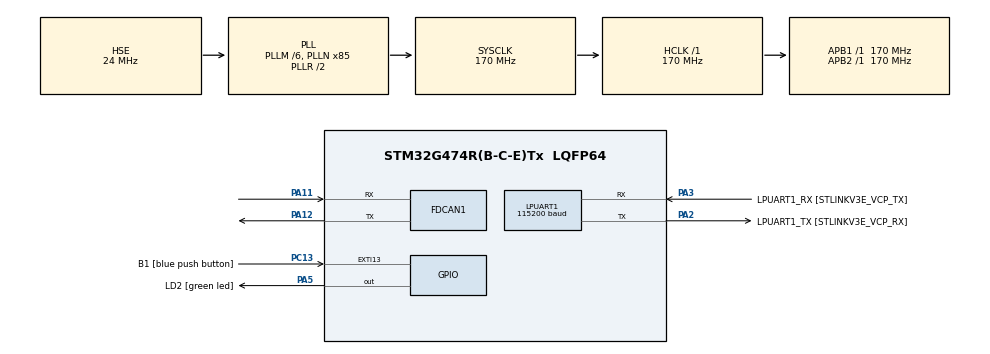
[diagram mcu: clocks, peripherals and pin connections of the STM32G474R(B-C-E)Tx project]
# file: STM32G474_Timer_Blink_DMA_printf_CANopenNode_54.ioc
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Dma.LPUART1_RX.0.Direction=DMA_PERIPH_TO_MEMORY
Dma.LPUART1_RX.0.EventEnable=DISABLE
Dma.LPUART1_RX.0.Instance=DMA1_Channel1
Dma.LPUART1_RX.0.MemDataAlignment=DMA_MDATAALIGN_BYTE
Dma.LPUART1_RX.0.MemInc=DMA_MINC_ENABLE
Dma.LPUART1_RX.0.Mode=DMA_NORMAL
Dma.LPUART1_RX.0.PeriphDataAlignment=DMA_PDATAALIGN_BYTE
Dma.LPUART1_RX.0.PeriphInc=DMA_PINC_DISABLE
Dma.LPUART1_RX.0.Polarity=HAL_DMAMUX_REQ_GEN_RISING
Dma.LPUART1_RX.0.Priority=DMA_PRIORITY_LOW
Dma.LPUART1_RX.0.RequestNumber=1
Dma.LPUART1_RX.0.SignalID=NONE
Dma.LPUART1_RX.0.SyncEnable=DISABLE
Dma.LPUART1_RX.0.SyncPolarity=HAL_DMAMUX_SYNC_NO_EVENT
Dma.LPUART1_RX.0.SyncRequestNumber=1
Dma.LPUART1_RX.0.SyncSignalID=NONE
Dma.LPUART1_TX.1.Direction=DMA_MEMORY_TO_PERIPH
Dma.LPUART1_TX.1.EventEnable=DISABLE
Dma.LPUART1_TX.1.Instance=DMA1_Channel2
Dma.LPUART1_TX.1.MemDataAlignment=DMA_MDATAALIGN_BYTE
Dma.LPUART1_TX.1.MemInc=DMA_MINC_ENABLE
Dma.LPUART1_TX.1.Mode=DMA_NORMAL
Dma.LPUART1_TX.1.PeriphDataAlignment=DMA_PDATAALIGN_BYTE
Dma.LPUART1_TX.1.PeriphInc=DMA_PINC_DISABLE
Dma.LPUART1_TX.1.Polarity=HAL_DMAMUX_REQ_GEN_RISING
Dma.LPUART1_TX.1.Priority=DMA_PRIORITY_LOW
Dma.LPUART1_TX.1.RequestNumber=1
Dma.LPUART1_TX.1.SignalID=NONE
Dma.LPUART1_TX.1.SyncEnable=DISABLE
Dma.LPUART1_TX.1.SyncPolarity=HAL_DMAMUX_SYNC_NO_EVENT
Dma.LPUART1_TX.1.SyncRequestNumber=1
Dma.LPUART1_TX.1.SyncSignalID=NONE
Dma.Request0=LPUART1_RX
Dma.Request1=LPUART1_TX
FDCAN1.CalculateBaudRateNominal=124999
FDCAN1.CalculateTimeBitNominal=8000
FDCAN1.CalculateTimeQuantumNominal=500.00000000000006
FDCAN1.Mode=FDCAN_MODE_NORMAL
FDCAN1.NominalPrescaler=85
FDCAN1.NominalTimeSeg1=13
LPUART1.BaudRate=115200
LPUART1.WordLength=UART_WORDLENGTH_8B
Mcu.Family=STM32G4
Mcu.Name=STM32G474R(B-C-E)Tx
Mcu.Package=LQFP64
NVIC.DMA1_Channel1_IRQn=true\:0\:0\:false\:false\:true\:false\:true\:true
NVIC.DMA1_Channel2_IRQn=true\:0\:0\:false\:false\:true\:false\:true\:true
NVIC.EXTI15_10_IRQn=true\:0\:0\:false\:false\:true\:true\:true\:true
NVIC.FDCAN1_IT0_IRQn=true\:0\:0\:false\:false\:true\:true\:true\:true
NVIC.FDCAN1_IT1_IRQn=true\:0\:0\:false\:false\:true\:true\:true\:true
NVIC.LPUART1_IRQn=true\:0\:0\:false\:false\:true\:true\:true\:true
NVIC.PriorityGroup=NVIC_PRIORITYGROUP_4
NVIC.TIM3_IRQn=true\:0\:0\:false\:false\:true\:true\:true\:true
PA11.Mode=FDCAN_Activate
PA11.Signal=FDCAN1_RX
PA12.Mode=FDCAN_Activate
PA12.Signal=FDCAN1_TX
PA13.GPIO_Label=T_SWDIO
PA13.Mode=Serial_Wire
PA13.Signal=SYS_JTMS-SWDIO
PA14.GPIO_Label=T_SWCLK
PA14.Mode=Serial_Wire
PA14.Signal=SYS_JTCK-SWCLK
PA2.GPIO_Label=LPUART1_TX [STLINKV3E_VCP_RX]
PA2.Mode=Asynchronous
PA2.Signal=LPUART1_TX
PA3.GPIO_Label=LPUART1_RX [STLINKV3E_VCP_TX]
PA3.Mode=Asynchronous
PA3.Signal=LPUART1_RX
PA5.GPIO_Label=LD2 [green led]
PA5.Signal=GPIO_Output
PB3.GPIO_Label=T_SWO
PB3.Signal=SYS_JTDO-SWO
PC13.GPIO_Label=B1 [blue push button]
PC13.Signal=GPXTI13
PC14-OSC32_IN.Mode=LSE-External-Oscillator
PC14-OSC32_IN.Signal=RCC_OSC32_IN
PC15-OSC32_OUT.Mode=LSE-External-Oscillator
PC15-OSC32_OUT.Signal=RCC_OSC32_OUT
PF0-OSC_IN.Mode=HSE-External-Oscillator
PF0-OSC_IN.Signal=RCC_OSC_IN
PF1-OSC_OUT.Mode=HSE-External-Oscillator
PF1-OSC_OUT.Signal=RCC_OSC_OUT
ProjectManager.HeapSize=0x200
ProjectManager.StackSize=0x400
ProjectManager.TargetToolchain=STM32CubeIDE
RCC.ADC12Freq_Value=170000000
RCC.ADC345Freq_Value=170000000
RCC.AHBFreq_Value=170000000
RCC.APB1Freq_Value=170000000
RCC.APB1TimFreq_Value=170000000
RCC.APB2Freq_Value=170000000
RCC.APB2TimFreq_Value=170000000
RCC.CortexFreq_Value=170000000
RCC.EXTERNAL_CLOCK_VALUE=12288000
RCC.HCLKFreq_Value=170000000
RCC.HSE_VALUE=24000000
RCC.HSI48_VALUE=48000000
RCC.HSI_VALUE=16000000
RCC.PLLM=RCC_PLLM_DIV6
RCC.PLLN=85
RCC.PLLSourceVirtual=RCC_PLLSOURCE_HSE
RCC.RTCClockSelection=RCC_RTCCLKSOURCE_LSE
RCC.SYSCLKFreq_VALUE=170000000
RCC.SYSCLKSource=RCC_SYSCLKSOURCE_PLLCLK
RCC.USBFreq_Value=170000000
RCC.VCOOutputFreq_Value=340000000
TIM3.PeriodNoDither=1000-1
TIM3.Prescaler=170-1
VP_SYS_VS_DBSignals.Mode=DisableDeadBatterySignals
VP_TIM3_VS_ClockSourceINT.Mode=Internal
board=NUCLEO-G474RE

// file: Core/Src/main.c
/* USER CODE BEGIN Header */
/**
  ******************************************************************************
  * @file           : main.c
  * @brief          : Main program body
  ******************************************************************************
  * @attention
  *
  * Copyright (c) 2023 STMicroelectronics.
  * All rights reserved.
  *
  * This software is licensed under terms that can be found in the LICENSE file
  * in the root directory of this software component.
  * If no LICENSE file comes with this software, it is provided AS-IS.
  *
  ******************************************************************************
  */
/* USER CODE END Header */
#include "main.h"

/* USER CODE BEGIN Includes */
#include <stdio.h>
#include "dma_printf.h"
#include "dma_scanf.h"
#include "log.h"

#include "CO_app_STM32.h"
#include "OD.h"
/* USER CODE END Includes */

FDCAN_HandleTypeDef hfdcan1;

UART_HandleTypeDef hlpuart1;
DMA_HandleTypeDef hdma_lpuart1_rx;
DMA_HandleTypeDef hdma_lpuart1_tx;

TIM_HandleTypeDef htim3;

/* USER CODE BEGIN PV */
uint8_t flag;
/* USER CODE END PV */

void SystemClock_Config(void);
static void MX_GPIO_Init(void);
static void MX_DMA_Init(void);
static void MX_LPUART1_UART_Init(void);
static void MX_TIM3_Init(void);
static void MX_FDCAN1_Init(void);

/* USER CODE BEGIN 0 */
void HAL_TIM_PeriodElapsedCallback(TIM_HandleTypeDef *htim)
{
	static uint32_t c;
////	if(htim->Instance == htim7.Instance) {
	if (htim == canopenNodeSTM32->timerHandle) {
//		HAL_IWDG_Refresh(&hiwdg);
		canopen_app_interrupt();

		c++;
		if (c >= 500) {
			flag = 1;
			c = 0;
			HAL_GPIO_TogglePin(LD2_GPIO_Port, LD2_Pin);
			OD_PERSIST_COMM.x6000_counter++;

		}
	}
}

int __io_putchar(int ch)
{
  dma_printf_putc(ch&0xFF);
  return ch;
}

int __io_getchar(void)
{
  return dma_scanf_getc_blocking();
}

void HAL_UART_RxCpltCallback(UART_HandleTypeDef *huart){

}

void HAL_UART_TxCpltCallback(UART_HandleTypeDef *huart){
  dma_printf_send_it(huart);
}

/* USER CODE END 0 */

int main(void)
{
  /* USER CODE BEGIN 1 */
  uint32_t c=0;
  /* USER CODE END 1 */

  /* MCU Configuration--------------------------------------------------------*/

  /* Reset of all peripherals, Initializes the Flash interface and the Systick. */
  HAL_Init();

  /* Configure the system clock */
  SystemClock_Config();

  /* Initialize all configured peripherals */
  MX_GPIO_Init();
  MX_DMA_Init();
  MX_LPUART1_UART_Init();
  MX_TIM3_Init();
  MX_FDCAN1_Init();
  /* USER CODE BEGIN 2 */

  HAL_TIM_Base_Start_IT(&htim3);

  setbuf(stdin, NULL);
  setbuf(stdout, NULL);
  setbuf(stderr, NULL);
  dma_printf_init(&hlpuart1);
  dma_scanf_init(&hlpuart1);

  printf("%s compiled at %s %s\n\r", __FILE__, __DATE__, __TIME__);

  CANopenNodeSTM32 canOpenNodeSTM32;
  canOpenNodeSTM32.CANHandle = &hfdcan1;
  canOpenNodeSTM32.HWInitFunction = MX_FDCAN1_Init;
  canOpenNodeSTM32.timerHandle = &htim3;
  canOpenNodeSTM32.desiredNodeID = 0x30;
  canOpenNodeSTM32.baudrate = 125;
  canopen_app_init(&canOpenNodeSTM32);
  /* USER CODE END 2 */

  /* Infinite loop */
  /* USER CODE BEGIN WHILE */
  while (1)
  {
//	  HAL_GPIO_TogglePin(LD2_GPIO_Port, LD2_Pin);
	  if (flag == 1) {
		  flag = 0;
		  log_info("ret = %8d\r\n", c++);
	  }
      canopen_app_process();
////	  HAL_Delay(1);
    /* USER CODE END WHILE */

  }
}

void SystemClock_Config(void)
{
  RCC_OscInitTypeDef RCC_OscInitStruct = {0};
  RCC_ClkInitTypeDef RCC_ClkInitStruct = {0};

  /** Configure the main internal regulator output voltage
  */
  HAL_PWREx_ControlVoltageScaling(PWR_REGULATOR_VOLTAGE_SCALE1_BOOST);

  /** Initializes the RCC Oscillators according to the specified parameters
  * in the RCC_OscInitTypeDef structure.
  */
  RCC_OscInitStruct.OscillatorType = RCC_OSCILLATORTYPE_HSE;
  RCC_OscInitStruct.HSEState = RCC_HSE_ON;
  RCC_OscInitStruct.PLL.PLLState = RCC_PLL_ON;
  RCC_OscInitStruct.PLL.PLLSource = RCC_PLLSOURCE_HSE;
  RCC_OscInitStruct.PLL.PLLM = RCC_PLLM_DIV6;
  RCC_OscInitStruct.PLL.PLLN = 85;
  RCC_OscInitStruct.PLL.PLLP = RCC_PLLP_DIV2;
  RCC_OscInitStruct.PLL.PLLQ = RCC_PLLQ_DIV2;
  RCC_OscInitStruct.PLL.PLLR = RCC_PLLR_DIV2;
  if (HAL_RCC_OscConfig(&RCC_OscInitStruct) != HAL_OK)
  {
    Error_Handler();
  }

  /** Initializes the CPU, AHB and APB buses clocks
  */
  RCC_ClkInitStruct.ClockType = RCC_CLOCKTYPE_HCLK|RCC_CLOCKTYPE_SYSCLK
                              |RCC_CLOCKTYPE_PCLK1|RCC_CLOCKTYPE_PCLK2;
  RCC_ClkInitStruct.SYSCLKSource = RCC_SYSCLKSOURCE_PLLCLK;
  RCC_ClkInitStruct.AHBCLKDivider = RCC_SYSCLK_DIV1;
  RCC_ClkInitStruct.APB1CLKDivider = RCC_HCLK_DIV1;
  RCC_ClkInitStruct.APB2CLKDivider = RCC_HCLK_DIV1;

  if (HAL_RCC_ClockConfig(&RCC_ClkInitStruct, FLASH_LATENCY_4) != HAL_OK)
  {
    Error_Handler();
  }
}

static void MX_FDCAN1_Init(void)
{

  hfdcan1.Instance = FDCAN1;
  hfdcan1.Init.ClockDivider = FDCAN_CLOCK_DIV1;
  hfdcan1.Init.FrameFormat = FDCAN_FRAME_CLASSIC;
  hfdcan1.Init.Mode = FDCAN_MODE_NORMAL;
  hfdcan1.Init.AutoRetransmission = DISABLE;
  hfdcan1.Init.TransmitPause = DISABLE;
  hfdcan1.Init.ProtocolException = DISABLE;
  hfdcan1.Init.NominalPrescaler = 85;
  hfdcan1.Init.NominalSyncJumpWidth = 1;
  hfdcan1.Init.NominalTimeSeg1 = 13;
  hfdcan1.Init.NominalTimeSeg2 = 2;
  hfdcan1.Init.DataPrescaler = 1;
  hfdcan1.Init.DataSyncJumpWidth = 1;
  hfdcan1.Init.DataTimeSeg1 = 1;
  hfdcan1.Init.DataTimeSeg2 = 1;
  hfdcan1.Init.StdFiltersNbr = 0;
  hfdcan1.Init.ExtFiltersNbr = 0;
  hfdcan1.Init.TxFifoQueueMode = FDCAN_TX_FIFO_OPERATION;
  if (HAL_FDCAN_Init(&hfdcan1) != HAL_OK)
  {
    Error_Handler();
  }

}

static void MX_LPUART1_UART_Init(void)
{

  hlpuart1.Instance = LPUART1;
  hlpuart1.Init.BaudRate = 115200;
  hlpuart1.Init.WordLength = UART_WORDLENGTH_8B;
  hlpuart1.Init.StopBits = UART_STOPBITS_1;
  hlpuart1.Init.Parity = UART_PARITY_NONE;
  hlpuart1.Init.Mode = UART_MODE_TX_RX;
  hlpuart1.Init.HwFlowCtl = UART_HWCONTROL_NONE;
  hlpuart1.Init.OneBitSampling = UART_ONE_BIT_SAMPLE_DISABLE;
  hlpuart1.Init.ClockPrescaler = UART_PRESCALER_DIV1;
  hlpuart1.AdvancedInit.AdvFeatureInit = UART_ADVFEATURE_NO_INIT;
  if (HAL_UART_Init(&hlpuart1) != HAL_OK)
  {
    Error_Handler();
  }
  if (HAL_UARTEx_SetTxFifoThreshold(&hlpuart1, UART_TXFIFO_THRESHOLD_1_8) != HAL_OK)
  {
    Error_Handler();
  }
  if (HAL_UARTEx_SetRxFifoThreshold(&hlpuart1, UART_RXFIFO_THRESHOLD_1_8) != HAL_OK)
  {
    Error_Handler();
  }
  if (HAL_UARTEx_DisableFifoMode(&hlpuart1) != HAL_OK)
  {
    Error_Handler();
  }

}

static void MX_TIM3_Init(void)
{

  TIM_ClockConfigTypeDef sClockSourceConfig = {0};
  TIM_MasterConfigTypeDef sMasterConfig = {0};

  htim3.Instance = TIM3;
  htim3.Init.Prescaler = 170-1;
  htim3.Init.CounterMode = TIM_COUNTERMODE_UP;
  htim3.Init.Period = 999;
  htim3.Init.ClockDivision = TIM_CLOCKDIVISION_DIV1;
  htim3.Init.AutoReloadPreload = TIM_AUTORELOAD_PRELOAD_DISABLE;
  if (HAL_TIM_Base_Init(&htim3) != HAL_OK)
  {
    Error_Handler();
  }
  sClockSourceConfig.ClockSource = TIM_CLOCKSOURCE_INTERNAL;
  if (HAL_TIM_ConfigClockSource(&htim3, &sClockSourceConfig) != HAL_OK)
  {
    Error_Handler();
  }
  sMasterConfig.MasterOutputTrigger = TIM_TRGO_RESET;
  sMasterConfig.MasterSlaveMode = TIM_MASTERSLAVEMODE_DISABLE;
  if (HAL_TIMEx_MasterConfigSynchronization(&htim3, &sMasterConfig) != HAL_OK)
  {
    Error_Handler();
  }

}

static void MX_DMA_Init(void)
{

  /* DMA controller clock enable */
  __HAL_RCC_DMAMUX1_CLK_ENABLE();
  __HAL_RCC_DMA1_CLK_ENABLE();

  /* DMA interrupt init */
  /* DMA1_Channel1_IRQn interrupt configuration */
  HAL_NVIC_SetPriority(DMA1_Channel1_IRQn, 0, 0);
  HAL_NVIC_EnableIRQ(DMA1_Channel1_IRQn);
  /* DMA1_Channel2_IRQn interrupt configuration */
  HAL_NVIC_SetPriority(DMA1_Channel2_IRQn, 0, 0);
  HAL_NVIC_EnableIRQ(DMA1_Channel2_IRQn);

}

static void MX_GPIO_Init(void)
{
  GPIO_InitTypeDef GPIO_InitStruct = {0};

  /* GPIO Ports Clock Enable */
  __HAL_RCC_GPIOC_CLK_ENABLE();
  __HAL_RCC_GPIOF_CLK_ENABLE();
  __HAL_RCC_GPIOA_CLK_ENABLE();
  __HAL_RCC_GPIOB_CLK_ENABLE();

  /*Configure GPIO pin Output Level */
  HAL_GPIO_WritePin(LD2_GPIO_Port, LD2_Pin, GPIO_PIN_RESET);

  /*Configure GPIO pin : B1_Pin */
  GPIO_InitStruct.Pin = B1_Pin;
  GPIO_InitStruct.Mode = GPIO_MODE_IT_RISING;
  GPIO_InitStruct.Pull = GPIO_NOPULL;
  HAL_GPIO_Init(B1_GPIO_Port, &GPIO_InitStruct);

  /*Configure GPIO pin : LD2_Pin */
  GPIO_InitStruct.Pin = LD2_Pin;
  GPIO_InitStruct.Mode = GPIO_MODE_OUTPUT_PP;
  GPIO_InitStruct.Pull = GPIO_NOPULL;
  GPIO_InitStruct.Speed = GPIO_SPEED_FREQ_LOW;
  HAL_GPIO_Init(LD2_GPIO_Port, &GPIO_InitStruct);

  /* EXTI interrupt init*/
  HAL_NVIC_SetPriority(EXTI15_10_IRQn, 0, 0);
  HAL_NVIC_EnableIRQ(EXTI15_10_IRQn);

}

void Error_Handler(void)
{
  __disable_irq();
  while (1)
  {
  }
}
